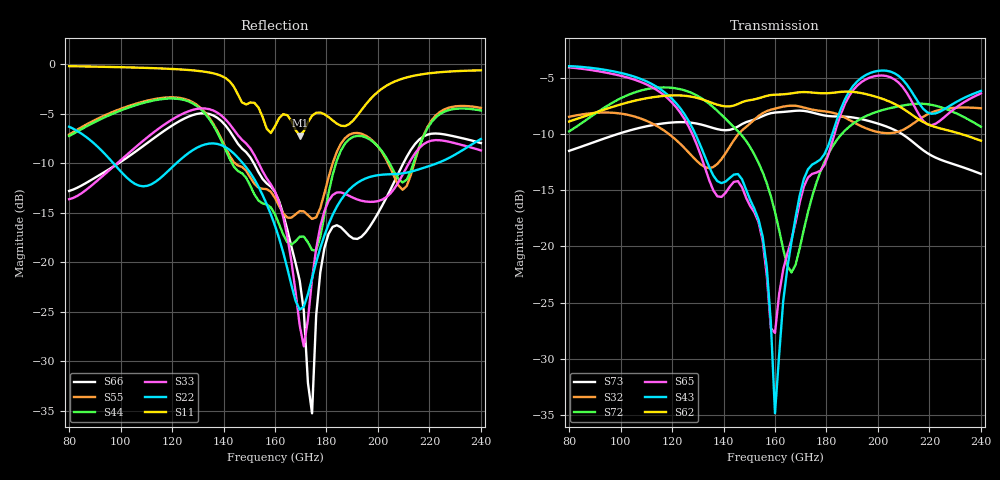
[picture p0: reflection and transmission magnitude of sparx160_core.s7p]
#  GHZ S DB R 50.0
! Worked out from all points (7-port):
!   101 points, 80 GHz to 240 GHz, reference 50 ohm
!   strongest paths, dB at 80 GHz, 120 GHz, 160 GHz, 200 GHz, 240 GHz:
!     S62: -8.9, -6.6, -6.5, -6.7, -10.6
!     S43: -4.0, -6.9, -34.9, -4.4, -6.2
!     S65: -4.1, -7.2, -27.7, -4.8, -6.4
!     S72: -9.8, -5.9, -16.9, -8.0, -9.3
!     S32: -8.5, -10.2, -7.7, -9.8, -7.7
!     S73: -11.5, -9.0, -8.1, -9.1, -13.5
!   lowest |S11| = -7.2 dB at 169.6 GHz (marker M1), VSWR 2.54, Z = 21.7 + j14.8 ohm
!   |S11| at or under -10 dB: nowhere
